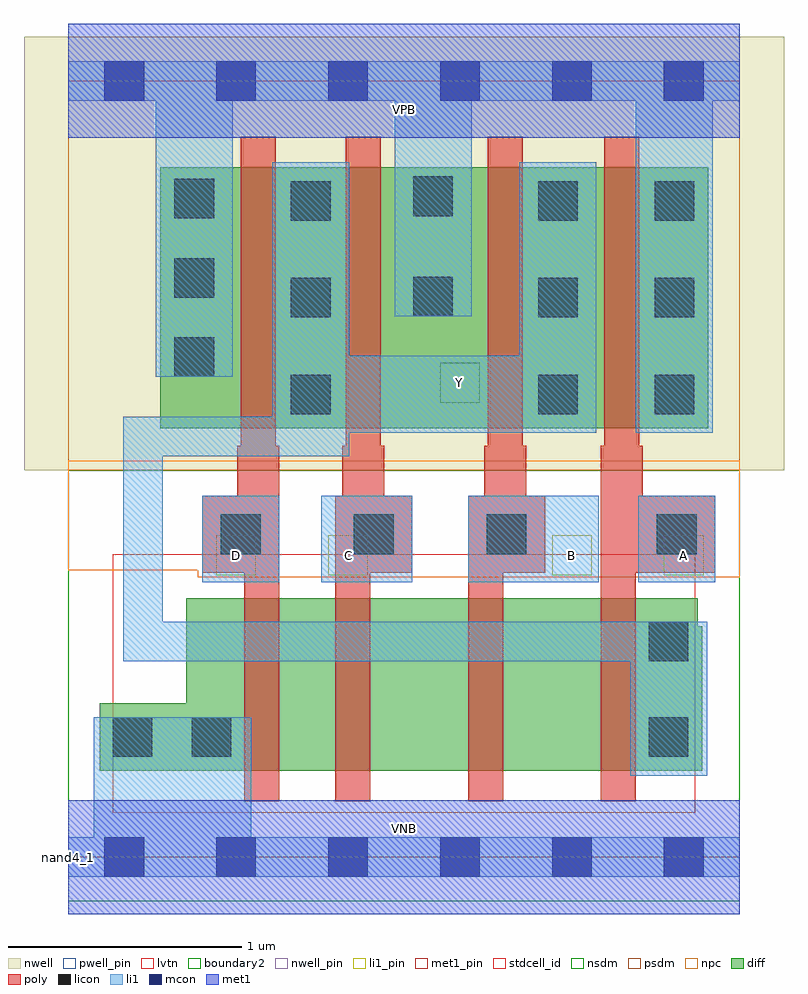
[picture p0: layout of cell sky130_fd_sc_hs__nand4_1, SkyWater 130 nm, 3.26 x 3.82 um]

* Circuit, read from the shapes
.subckt sky130_fd_sc_hs__nand4_1 A B C D VGND VNB VPB VPWR Y
XM1 n1 D VGND VNB sky130_fd_pr__nfet_01v8_lvt w=0.74 l=0.15
XM2 n2 C n1 VNB sky130_fd_pr__nfet_01v8_lvt w=0.74 l=0.15
XM3 n3 B n2 VNB sky130_fd_pr__nfet_01v8_lvt w=0.74 l=0.15
XM4 Y A n3 VNB sky130_fd_pr__nfet_01v8_lvt w=0.74 l=0.15
XM5 Y D VPWR VPB sky130_fd_pr__pfet_01v8 w=1.12 l=0.15
XM6 VPWR C Y VPB sky130_fd_pr__pfet_01v8 w=1.12 l=0.15
XM7 Y B VPWR VPB sky130_fd_pr__pfet_01v8 w=1.12 l=0.15
XM8 VPWR A Y VPB sky130_fd_pr__pfet_01v8 w=1.12 l=0.15
.ends

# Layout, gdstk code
import gdstk
lib = gdstk.Library(unit=1e-6, precision=1e-09)
def R(c, l, rs):  # rectangles x0, y0, x1, y1
    for r in rs: c.add(gdstk.rectangle(r[:2], r[2:], *l))
def A(c, l, x, y, w, h, nx, ny, dx, dy):  # array of equal rectangles
    R(c, l, [(x+i*dx, y+j*dy, x+i*dx+w, y+j*dy+h) for i in range(nx) for j in range(ny)])
def P(c, l, *ps):  # polygons
    for p in ps: c.add(gdstk.Polygon(p, *l))
nwell_pin = (64, 16)
nwell = (64, 20)
diff = (65, 20)
poly = (66, 20)
licon = (66, 44)
li1_pin = (67, 16)
li1 = (67, 20)
mcon = (67, 44)
met1_pin = (68, 16)
met1 = (68, 20)
stdcell_id = (81, 4)
nsdm = (93, 44)
psdm = (94, 20)
npc = (95, 20)
pwell_pin = (122, 16)
lvtn = (125, 44)
boundary2 = (236, 0)

sky130_fd_sc_hs__nand4_1 = lib.new_cell('sky130_fd_sc_hs__nand4_1')
R(sky130_fd_sc_hs__nand4_1, nwell_pin, [(0,3.085,2.88,3.33)])
R(sky130_fd_sc_hs__nand4_1, nwell, [(-0.19,1.66,3.07,3.52)])
R(sky130_fd_sc_hs__nand4_1, diff, [(0.395,1.84,2.745,2.96)])
P(sky130_fd_sc_hs__nand4_1, diff, [(2.72,0.99),(2.7,0.99),(2.7,1.11),(0.505,1.11),(0.505,0.66),(0.135,0.66),(0.135,0.37),(2.72,0.37)])
P(sky130_fd_sc_hs__nand4_1, poly, [(2.775,1.55),(2.465,1.55),(2.465,1.765),(2.45,1.765),(2.45,3.09),(2.3,3.09),(2.3,1.765),(2.285,1.765),(2.285,0.24),(2.435,0.24),(2.435,1.22),(2.775,1.22)],
  [(2.045,1.55),(1.965,1.55),(1.965,1.765),(1.95,1.765),(1.95,3.09),(1.8,3.09),(1.8,1.765),(1.785,1.765),(1.785,1.55),(1.715,1.55),(1.715,0.24),(1.865,0.24),(1.865,1.22),(2.045,1.22)],
  [(1.475,1.55),(1.355,1.55),(1.355,1.765),(1.34,1.765),(1.34,3.09),(1.19,3.09),(1.19,1.765),(1.175,1.765),(1.175,1.55),(1.145,1.55),(1.145,0.24),(1.295,0.24),(1.295,1.22),(1.475,1.22)],
  [(0.905,1.765),(0.89,1.765),(0.89,3.09),(0.74,3.09),(0.74,1.765),(0.725,1.765),(0.725,1.55),(0.575,1.55),(0.575,1.22),(0.755,1.22),(0.755,0.24),(0.905,0.24)])
A(sky130_fd_sc_hs__nand4_1, licon, 0.655, 1.3, 0.17, 0.17, 3, 1, 0.57, 0)
A(sky130_fd_sc_hs__nand4_1, licon, 0.955, 1.9, 0.17, 0.17, 1, 3, 0, 0.415)
A(sky130_fd_sc_hs__nand4_1, licon, 2.015, 1.9, 0.17, 0.17, 1, 3, 0, 0.415)
A(sky130_fd_sc_hs__nand4_1, licon, 2.515, 1.9, 0.17, 0.17, 1, 3, 0, 0.415)
A(sky130_fd_sc_hs__nand4_1, licon, 0.455, 2.06, 0.17, 0.17, 1, 3, 0, 0.34)
R(sky130_fd_sc_hs__nand4_1, licon, [(0.19,0.43,0.36,0.6), (0.53,0.43,0.7,0.6), (2.49,0.43,2.66,0.6), (2.49,0.84,2.66,1.01), (2.525,1.3,2.695,1.47), (1.48,2.32,1.65,2.49), (1.48,2.75,1.65,2.92)])
R(sky130_fd_sc_hs__nand4_1, li1_pin, [(0.635,1.21,0.805,1.38), (1.115,1.21,1.285,1.38), (2.075,1.21,2.245,1.38), (2.555,1.21,2.725,1.38), (1.595,1.95,1.765,2.12)])
R(sky130_fd_sc_hs__nand4_1, li1, [(0.575,1.18,0.905,1.55), (1.085,1.18,1.475,1.55), (1.715,1.18,2.275,1.55), (2.445,1.18,2.775,1.55)])
P(sky130_fd_sc_hs__nand4_1, li1, [(2.435,1.82),(2.435,3.245),(1.73,3.245),(1.73,2.32),(1.4,2.32),(1.4,3.245),(0.705,3.245),(0.705,2.06),(0.375,2.06),(0.375,3.245),(0,3.245),(0,3.415),(2.88,3.415),(2.88,3.245),(2.765,3.245),(2.765,1.82)],
  [(0.11,0.085),(0.11,0.6),(0.785,0.6),(0.785,0.085),(2.88,0.085),(2.88,-0.085),(0,-0.085),(0,0.085)],
  [(1.935,2.15),(1.935,2.98),(2.265,2.98),(2.265,1.82),(1.205,1.82),(1.205,1.72),(0.405,1.72),(0.405,1.01),(2.74,1.01),(2.74,0.35),(2.41,0.35),(2.41,0.84),(0.235,0.84),(0.235,1.89),(0.875,1.89),(0.875,2.98),(1.205,2.98),(1.205,2.15)])
A(sky130_fd_sc_hs__nand4_1, mcon, 0.155, -0.085, 0.17, 0.17, 6, 2, 0.48, 3.33)
R(sky130_fd_sc_hs__nand4_1, met1_pin, [(0,0,2.88,0.245), (0,3.085,2.88,3.33)])
R(sky130_fd_sc_hs__nand4_1, met1, [(0,-0.245,2.88,0.245), (0,3.085,2.88,3.575)])
R(sky130_fd_sc_hs__nand4_1, stdcell_id, [(0,0,2.88,3.33)])
R(sky130_fd_sc_hs__nand4_1, nsdm, [(0,-0.19,2.88,1.66)])
R(sky130_fd_sc_hs__nand4_1, psdm, [(0,1.66,2.88,3.52)])
P(sky130_fd_sc_hs__nand4_1, npc, [(2.88,1.7),(0,1.7),(0,1.23),(0.555,1.23),(0.555,1.2),(2.88,1.2)])
R(sky130_fd_sc_hs__nand4_1, pwell_pin, [(0,0,2.88,0.245)])
R(sky130_fd_sc_hs__nand4_1, lvtn, [(0.19,0.19,2.69,1.3)])
R(sky130_fd_sc_hs__nand4_1, boundary2, [(0,0,2.88,3.33)])
sky130_fd_sc_hs__nand4_1.add(gdstk.Label('nand4_1', (0,0), layer=83, texttype=44))
sky130_fd_sc_hs__nand4_1.add(gdstk.Label('VNB', (1.44,0.123), layer=64, texttype=59))
sky130_fd_sc_hs__nand4_1.add(gdstk.Label('VPB', (1.44,3.208), layer=64, texttype=5))
sky130_fd_sc_hs__nand4_1.add(gdstk.Label('VPWR', (1.44,3.208), layer=68, texttype=5))
sky130_fd_sc_hs__nand4_1.add(gdstk.Label('VGND', (1.44,0.123), layer=68, texttype=5))
sky130_fd_sc_hs__nand4_1.add(gdstk.Label('C', (1.2,1.295), layer=67, texttype=5))
sky130_fd_sc_hs__nand4_1.add(gdstk.Label('Y', (1.68,2.035), layer=67, texttype=5))
sky130_fd_sc_hs__nand4_1.add(gdstk.Label('D', (0.72,1.295), layer=67, texttype=5))
sky130_fd_sc_hs__nand4_1.add(gdstk.Label('B', (2.16,1.295), layer=67, texttype=5))
sky130_fd_sc_hs__nand4_1.add(gdstk.Label('A', (2.64,1.295), layer=67, texttype=5))

lib.write_gds('sky130_fd_sc_hs__nand4_1.gds')
